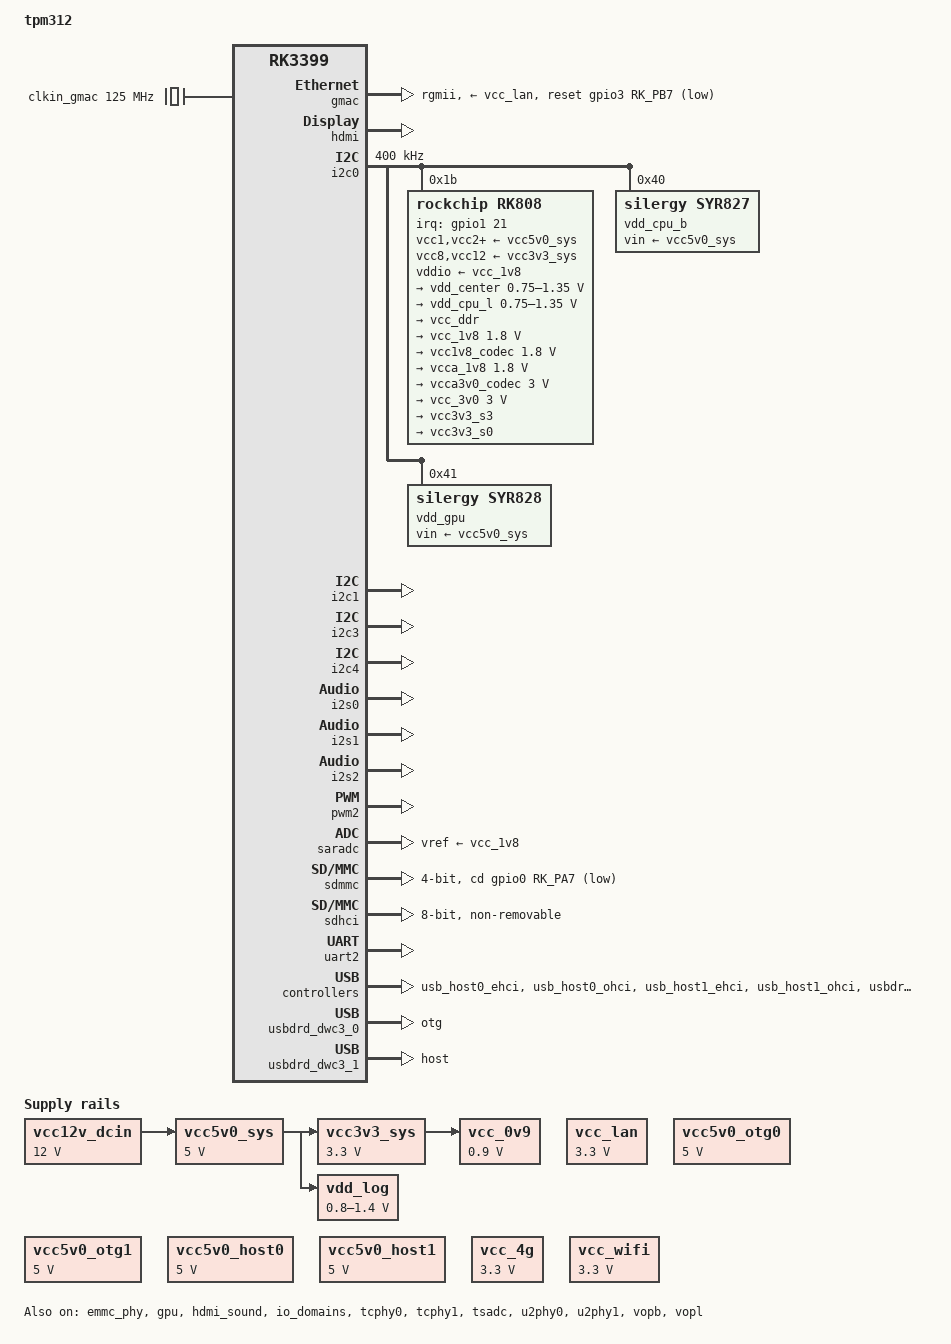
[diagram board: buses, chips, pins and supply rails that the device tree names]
/dts-v1/;
#include <dt-bindings/input/linux-event-codes.h>
#include <dt-bindings/pwm/pwm.h>
#include "rk3399.dtsi"
#include "rk3399-opp.dtsi"

/ {
  model = "tpm312";
	compatible = "rk3399,tpm312", "rockchip,rk3399";

	chosen {
		stdout-path = "serial2:1500000n8";
	};

	clkin_gmac: external-gmac-clock {
		compatible = "fixed-clock";
		clock-frequency = <125000000>;
		clock-output-names = "clkin_gmac";
		#clock-cells = <0>;
	};

	vcc12v_dcin: dc-12v {
		compatible = "regulator-fixed";
		regulator-name = "vcc12v_dcin";
		regulator-always-on;
		regulator-boot-on;
		regulator-min-microvolt = <12000000>;
		regulator-max-microvolt = <12000000>;
	};

	vcc5v0_sys: vcc-sys {
		compatible = "regulator-fixed";
		regulator-name = "vcc5v0_sys";
		regulator-always-on;
		regulator-boot-on;
		regulator-min-microvolt = <5000000>;
		regulator-max-microvolt = <5000000>;
		vin-supply = <&vcc12v_dcin>;
	};

	vcc_0v9: vcc-0v9 {
		compatible = "regulator-fixed";
		regulator-name = "vcc_0v9";
		regulator-always-on;
		regulator-boot-on;
		regulator-min-microvolt = <900000>;
		regulator-max-microvolt = <900000>;
		vin-supply = <&vcc3v3_sys>;
	};

	vcc_lan: vcc3v3-phy-regulator {
		compatible = "regulator-fixed";
		regulator-name = "vcc_lan";
		regulator-always-on;
		regulator-boot-on;
		regulator-min-microvolt = <3300000>;
		regulator-max-microvolt = <3300000>;

		regulator-state-mem {
			regulator-off-in-suspend;
		};
	};

	vcc3v3_sys: vcc3v3-sys {
		compatible = "regulator-fixed";
		regulator-name = "vcc3v3_sys";
		regulator-always-on;
		regulator-boot-on;
		regulator-min-microvolt = <3300000>;
		regulator-max-microvolt = <3300000>;
		vin-supply = <&vcc5v0_sys>;
	};

	vcc5v0_otg0: vcc5v0-otg0-regulator {
		compatible = "regulator-fixed";
		enable-active-high;
		gpio = <0x30 RK_PA0 GPIO_ACTIVE_HIGH>;
		pinctrl-names = "default";
		pinctrl-0 = <&u2phy0_otg>;
		regulator-name = "vcc5v0_otg0";
		regulator-always-on;
		rregulator-min-microvolt = <5000000>;
		regulator-max-microvolt = <5000000>;
	};

	vcc5v0_otg1: vcc5v0-otg1-regulator {
		compatible = "regulator-fixed";
		enable-active-high;
		gpio = <0x37 RK_PD5 GPIO_ACTIVE_HIGH>;
		pinctrl-names = "default";
		pinctrl-0 = <&u2phy1_otg>;
		regulator-name = "vcc5v0_otg1";
		regulator-always-on;
		regulator-min-microvolt = <5000000>;
		regulator-max-microvolt = <5000000>;
	};

	vcc5v0_host0: vcc5v0-host0-regulator {
		compatible = "regulator-fixed";
		enable-active-high;
		gpio = <0x37 RK_PD2 GPIO_ACTIVE_HIGH>;
		pinctrl-names = "default";
		pinctrl-0 = <&u2phy0_host>;
		regulator-name = "vcc5v0_host0";
		regulator-always-on;
		regulator-min-microvolt = <5000000>;
		regulator-max-microvolt = <5000000>;
	};

	vcc5v0_host1: vcc5v0-host1-regulator {
		compatible = "regulator-fixed";
		enable-active-high;
		gpio = <0x18 RK_PD6 GPIO_ACTIVE_HIGH>;
		pinctrl-names = "default";
		pinctrl-0 = <&u2phy1_host>;
		regulator-name = "vcc5v0_host1";
		regulator-always-on;
		regulator-min-microvolt = <5000000>;
		regulator-max-microvolt = <5000000>;
	};

	vcc_4g: vcc-4g {
		compatible = "regulator-fixed";
		enable-active-high;
		gpio = <0xce RK_PA2 GPIO_ACTIVE_HIGH>;
		pinctrl-names = "default";
		pinctrl-0 = <&wk2_irq>;
		regulator-name = "vcc_4g";
		regulator-always-on;
		regulator-boot-on;
		regulator-min-microvolt = <3300000>;
		regulator-max-microvolt = <3300000>;
	};

	vcc_wifi: vcc-wifi {
		compatible = "regulator-fixed";
		enable-active-high;
		gpio = <0xce RK_PA3 GPIO_ACTIVE_HIGH>;
		pinctrl-names = "default";
		pinctrl-0 = <&wifi_pwr_gpio>;
		regulator-name = "vcc_wifi";
		regulator-always-on;
		regulator-min-microvolt = <3300000>;
		regulator-max-microvolt = <3300000>;
	};

	vdd_log: vdd-log {
		compatible = "pwm-regulator";
		pwms = <&pwm2 0 25000 1>;
		regulator-name = "vdd_log";
		regulator-always-on;
		regulator-boot-on;
		regulator-min-microvolt = <800000>;
		regulator-max-microvolt = <1400000>;
		vin-supply = <&vcc5v0_sys>;
	};
};

&cpu_l0 {
	cpu-supply = <&vdd_cpu_l>;
};

&cpu_l1 {
	cpu-supply = <&vdd_cpu_l>;
};

&cpu_l2 {
	cpu-supply = <&vdd_cpu_l>;
};

&cpu_l3 {
	cpu-supply = <&vdd_cpu_l>;
};

&cpu_b0 {
	cpu-supply = <&vdd_cpu_b>;
};

&cpu_b1 {
	cpu-supply = <&vdd_cpu_b>;
};

&emmc_phy {
	status = "okay";
};

&gmac {
	assigned-clocks = <&cru SCLK_RMII_SRC>;
	assigned-clock-parents = <&clkin_gmac>;
	clock_in_out = "input";
	phy-supply = <&vcc_lan>;
	phy-mode = "rgmii";
	pinctrl-names = "default";
	pinctrl-0 = <&rgmii_pins>;
	snps,reset-gpio = <&gpio3 RK_PB7 GPIO_ACTIVE_LOW>;
	snps,reset-active-low;
	snps,reset-delays-us = <0 10000 50000>;
	tx_delay = <0x28>;
	rx_delay = <0x11>;
	status = "okay";
};

&gpu {
	mali-supply = <&vdd_gpu>;
	status = "okay";
};

&hdmi {
	ddc-i2c-bus = <&i2c3>;
	pinctrl-names = "default";
	pinctrl-0 = <&hdmi_cec>;
	status = "okay";
};

&hdmi_sound {
	status = "okay";
};

&i2c0 {
	clock-frequency = <400000>;
	i2c-scl-rising-time-ns = <168>;
	i2c-scl-falling-time-ns = <4>;
	status = "okay";

	rk808: pmic@1b {
		compatible = "rockchip,rk808";
		reg = <0x1b>;
		interrupt-parent = <&gpio1>;
		interrupts = <21 IRQ_TYPE_LEVEL_LOW>;
		#clock-cells = <1>;
		clock-output-names = "xin32k", "rk808-clkout2";
		pinctrl-names = "default";
		pinctrl-0 = <&pmic_int_l>;
		rockchip,system-power-controller;
		wakeup-source;

		vcc1-supply = <&vcc5v0_sys>;
		vcc2-supply = <&vcc5v0_sys>;
		vcc3-supply = <&vcc5v0_sys>;
		vcc4-supply = <&vcc5v0_sys>;
		vcc6-supply = <&vcc5v0_sys>;
		vcc7-supply = <&vcc5v0_sys>;
		vcc8-supply = <&vcc3v3_sys>;
		vcc9-supply = <&vcc5v0_sys>;
		vcc10-supply = <&vcc5v0_sys>;
		vcc11-supply = <&vcc5v0_sys>;
		vcc12-supply = <&vcc3v3_sys>;
		vddio-supply = <&vcc_1v8>;

		regulators {
			vdd_center: DCDC_REG1 {
				regulator-name = "vdd_center";
				regulator-always-on;
				regulator-boot-on;
				regulator-min-microvolt = <750000>;
				regulator-max-microvolt = <1350000>;
				regulator-ramp-delay = <6001>;
				regulator-state-mem {
					regulator-off-in-suspend;
				};
			};

			vdd_cpu_l: DCDC_REG2 {
				regulator-name = "vdd_cpu_l";
				regulator-always-on;
				regulator-boot-on;
				regulator-min-microvolt = <750000>;
				regulator-max-microvolt = <1350000>;
				regulator-ramp-delay = <6001>;
				regulator-state-mem {
					regulator-off-in-suspend;
				};
			};

			vcc_ddr: DCDC_REG3 {
				regulator-name = "vcc_ddr";
				regulator-always-on;
				regulator-boot-on;
				regulator-state-mem {
					regulator-on-in-suspend;
				};
			};

			vcc_1v8: DCDC_REG4 {
				regulator-name = "vcc_1v8";
				regulator-always-on;
				regulator-boot-on;
				regulator-min-microvolt = <1800000>;
				regulator-max-microvolt = <1800000>;
				regulator-state-mem {
					regulator-on-in-suspend;
					regulator-suspend-microvolt = <1800000>;
				};
			};

			vcc1v8_codec: LDO_REG1 {
				regulator-name = "vcc1v8_codec";
				regulator-always-on;
				regulator-boot-on;
				regulator-min-microvolt = <1800000>;
				regulator-max-microvolt = <1800000>;
				regulator-state-mem {
					regulator-off-in-suspend;
				};
			};

			vcca_1v8: LDO_REG3 {
				regulator-name = "vcca_1v8";
				regulator-always-on;
				regulator-boot-on;
				regulator-min-microvolt = <1800000>;
				regulator-max-microvolt = <1800000>;
				regulator-state-mem {
					regulator-on-in-suspend;
					regulator-suspend-microvolt = <1800000>;
				};
			};

			vcca3v0_codec: LDO_REG5 {
				regulator-name = "vcca3v0_codec";
				regulator-always-on;
				regulator-boot-on;
				regulator-min-microvolt = <3000000>;
				regulator-max-microvolt = <3000000>;
				regulator-state-mem {
					regulator-off-in-suspend;
				};
			};

			vcc_3v0: LDO_REG8 {
				regulator-name = "vcc_3v0";
				regulator-always-on;
				regulator-boot-on;
				regulator-min-microvolt = <3000000>;
				regulator-max-microvolt = <3000000>;
				regulator-state-mem {
					regulator-on-in-suspend;
					regulator-suspend-microvolt = <3000000>;
				};
			};

			vcc3v3_s3: SWITCH_REG1 {
				regulator-always-on;
				regulator-boot-on;
				regulator-name = "vcc3v3_s3";

				regulator-state-mem {
						regulator-off-in-suspend;
					};
				};

			vcc3v3_s0: SWITCH_REG2 {
				regulator-always-on;
				regulator-boot-on;
				regulator-name = "vcc3v3_s0";

				regulator-state-mem {
				regulator-off-in-suspend;
				};
			};
		};
	};

	vdd_cpu_b: regulator@40 {
		compatible = "silergy,syr827";
		reg = <0x40>;
		fcs,suspend-voltage-selector = <1>;
		pinctrl-names = "default";
		pinctrl-0 = <&vsel1_pin>;
		regulator-name = "vdd_cpu_b";
		regulator-min-microvolt = <712500>;
		regulator-max-microvolt = <1500000>;
		regulator-ramp-delay = <1000>;
		regulator-always-on;
		regulator-boot-on;
		vin-supply = <&vcc5v0_sys>;

		regulator-state-mem {
			regulator-off-in-suspend;
		};
	};

	vdd_gpu: regulator@41 {
		compatible = "silergy,syr828";
		reg = <0x41>;
		fcs,suspend-voltage-selector = <1>;
		pinctrl-names = "default";
		pinctrl-0 = <&vsel2_pin>;
		regulator-name = "vdd_gpu";
		regulator-min-microvolt = <712500>;
		regulator-max-microvolt = <1500000>;
		regulator-ramp-delay = <1000>;
		regulator-always-on;
		regulator-boot-on;
		vin-supply = <&vcc5v0_sys>;

		regulator-state-mem {
			regulator-off-in-suspend;
		};
	};
};

&i2c1 {
	i2c-scl-rising-time-ns = <300>;
	i2c-scl-falling-time-ns = <15>;
	status = "okay";
};

&i2c3 {
	i2c-scl-rising-time-ns = <450>;
	i2c-scl-falling-time-ns = <15>;
	status = "okay";
};

&i2c4 {
	i2c-scl-rising-time-ns = <600>;
	i2c-scl-falling-time-ns = <20>;
	status = "okay";
};

&i2s0 {
	rockchip,playback-channels = <8>;
	rockchip,capture-channels = <8>;
	status = "okay";
};

&i2s1 {
	rockchip,playback-channels = <2>;
	rockchip,capture-channels = <2>;
	status = "okay";
};

&i2s2 {
	status = "okay";
};

&io_domains {
	status = "okay";
	gpio1830-supply = <&vcc_3v0>;
};

&pmu_io_domains {
	status = "okay";

	pmu1830-supply = <&vcc_3v0>;
};

&pinctrl {
	pmic {
		pmic_int_l: pmic-int-l {
			rockchip,pins = <1 RK_PC5 RK_FUNC_GPIO &pcfg_pull_up>;
		};

		vsel1_pin: vsel1-pin {
			rockchip,pins = <1 RK_PC1 RK_FUNC_GPIO &pcfg_pull_down>;
		};

		vsel2_pin: vsel2-pin {
			rockchip,pins = <1 RK_PB6 RK_FUNC_GPIO &pcfg_pull_down>;
		};
	};

	u2phy0_otg {
		otg0_vbus_drv: otg0-vbus-drv {
			rockchip,pins = <0x01 0x00 0x00 0xbf>;
		};
	};

	u2phy1_otg {
		otg1_vbus_drv: otg1-vbus-drv {
			rockchip,pins = <0x04 0x1d 0x00 0xbf>;
		};
	};

	u2phy0_host {
		host0_vbus_drv: host0-vbus-drv {
			rockchip,pins = <0x04 0x1a 0x00 0xbf>;
		};
	};
	u2phy1_host {
		host1_vbus_drv: host1-vbus-drv {
			rockchip,pins = <0x03 0x1e 0x00 0xbf>;
		};
	};
	wk2 {
		wk2_irq: wk2-irq {
			rockchip,pins = <0x03 0x1c 0x00 0xbd>;
		};
	};
	wireless-wlan {
		wifi_pwr_gpio: wifi-pwr-gpio {
			rockchip,pins = <0x00 0x03 0x00 0xbf>;
		};
	};
};

&pwm2 {
	status = "okay";
};

&saradc {
	status = "okay";

	vref-supply = <&vcc_1v8>;
};

&sdmmc {
	bus-width = <4>;
	cap-mmc-highspeed;
	cap-sd-highspeed;
	cd-gpios = <&gpio0 RK_PA7 GPIO_ACTIVE_LOW>;
	disable-wp;
	max-frequency = <150000000>;
	pinctrl-names = "default";
	pinctrl-0 = <&sdmmc_clk &sdmmc_cd &sdmmc_cmd &sdmmc_bus4>;
	status = "okay";
};

&sdhci {
	bus-width = <8>;
	mmc-hs400-1_8v;
	mmc-hs400-enhanced-strobe;
	non-removable;
	status = "okay";
};

&tcphy0 {
	status = "okay";
};

&tcphy1 {
	status = "okay";
};

&tsadc {
	status = "okay";

	/* tshut mode 0:CRU 1:GPIO */
	rockchip,hw-tshut-mode = <1>;
	/* tshut polarity 0:LOW 1:HIGH */
	rockchip,hw-tshut-polarity = <1>;
};

&u2phy0 {
	status = "okay";

	u2phy0_otg: otg-port {
	  phy-supply = <&vcc5v0_otg0>;
		status = "okay";
	};

	u2phy0_host: host-port {
		phy-supply = <&vcc5v0_host0>;
		status = "okay";
	};
};

&u2phy1 {
	status = "okay";

	u2phy1_otg: otg-port {
	  phy-supply = <&vcc5v0_otg0>;
		status = "okay";
	};

	u2phy1_host: host-port {
		phy-supply = <&vcc5v0_host0>;
		status = "okay";
	};
};

&uart0 {
	pinctrl-names = "default";
	pinctrl-0 = <&uart0_xfer &uart0_cts &uart0_rts>;
};

&uart2 {
	status = "okay";
};

&usb_host0_ehci {
	status = "okay";
};

&usb_host0_ohci {
	status = "okay";
};

&usb_host1_ehci {
	status = "okay";
};

&usb_host1_ohci {
	status = "okay";
};

&usbdrd3_0 {
	status = "okay";
};

&usbdrd_dwc3_0 {
	status = "okay";
	dr_mode = "otg";
};

&usbdrd3_1 {
	status = "okay";
};

&usbdrd_dwc3_1 {
	status = "okay";
	dr_mode = "host";
};

&vopb {
	status = "okay";
};

&vopb_mmu {
	status = "okay";
};

&vopl {
	status = "okay";
};

&vopl_mmu {
	status = "okay";
};
